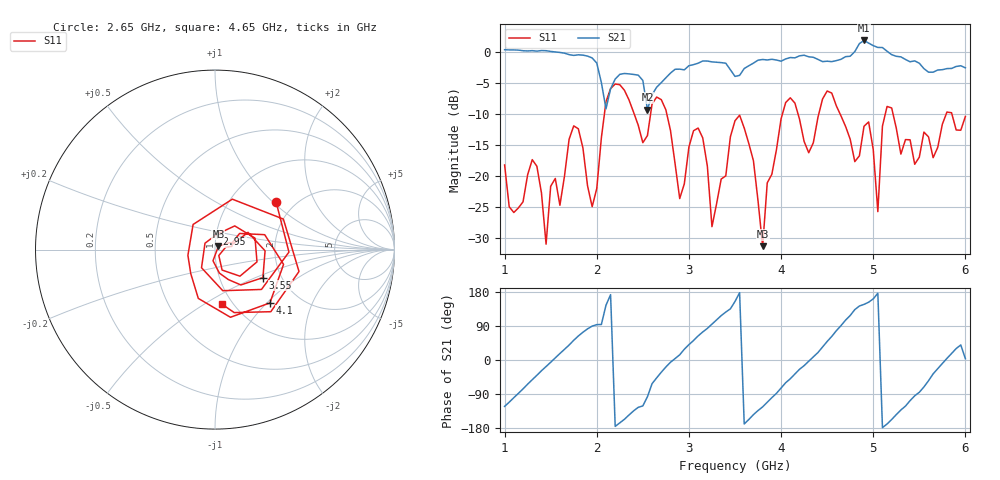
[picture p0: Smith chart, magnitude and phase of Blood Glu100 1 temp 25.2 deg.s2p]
! NanoVNA-App
! Date: 2024-03-21 13:59:27
! Start: 1GHz Stop: 6GHz Points: 101
! S-Parameter data: F S11 S21 S12 S22
# Hz S RI R 50
!	Frequency	S11_Real	S11_Imag	S21_Real	S21_Imag	S12_Real	S12_Imag	S22_Real	S22_Imag
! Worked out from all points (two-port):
!   101 points, 1 GHz to 6 GHz, reference 50 ohm
!   highest |S21| = 1.81 dB at 4.9 GHz (marker M1); lowest = -9.3 dB at 2.55 GHz (marker M2)
!   |S21| within 3 dB of the highest: start of sweep to 1.961 GHz; 4.653 GHz to 5.344 GHz (690.4 MHz wide, 13.8 % of centre)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
!   lowest |S11| = -31.2 dB at 3.8 GHz (marker M3), VSWR 1.06, Z = 51.9 + j2.03 ohm
!   |S11| at or under -10 dB: start of sweep to 2.083 GHz; 2.76 GHz to 4.015 GHz (1.255 GHz wide, 37 % of centre); 5.215 GHz to 5.792 GHz (577.1 MHz wide, 10.5 % of centre)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
!   S12 and S22 are empty: the file has one direction only
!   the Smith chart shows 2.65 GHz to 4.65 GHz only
!   S11 on the Smith chart (normalised r, x): 2.65 GHz: 1.60, +1.05; 2.95 GHz: 1.01, +0.17; 3.55 GHz: 1.61, -0.56; 4.1 GHz: 1.44, -1.04; 4.65 GHz: 0.89, -0.59
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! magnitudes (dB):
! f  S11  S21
! 1 GHz  -18.2  0.3
! 1.35 GHz  -18.4  0.1
! 1.45 GHz  -30.9  0.2
! 1.85 GHz  -15.5  -0.5
! 1.95 GHz  -24.9  -1.0
! 2.15 GHz  -5.9  -6.0
! 2.55 GHz  -13.5  -9.3
! 2.65 GHz  -7.3  -5.7
! 2.7 GHz  -7.7  -5.0
! 2.95 GHz  -21.2  -2.9
! 3.1 GHz  -12.3  -1.8
! 3.25 GHz  -28.1  -1.6
! 3.5 GHz  -11.1  -4.0
! 3.55 GHz  -10.2  -3.8
! 3.8 GHz  -31.2  -1.2
! 4.1 GHz  -7.4  -0.9
! 4.35 GHz  -14.6  -0.9
! 4.65 GHz  -10.3  -1.2
! 4.9 GHz  -12.0  1.8
! 5.05 GHz  -25.7  0.7
! 5.2 GHz  -9.0  -0.5
! 6 GHz  -10.4  -2.6
